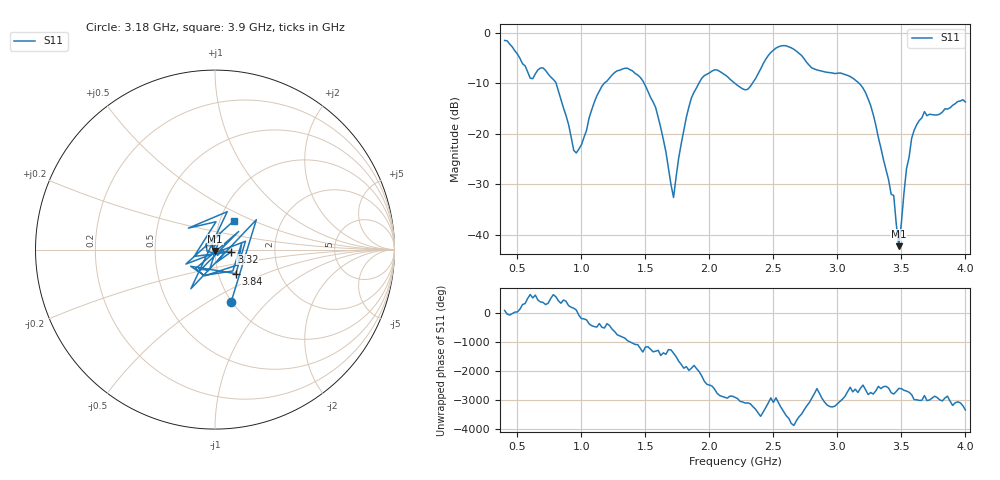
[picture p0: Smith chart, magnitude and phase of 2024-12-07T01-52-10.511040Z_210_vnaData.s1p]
!Created with skrf (http://scikit-rf.org).
# Hz S RI R 50.0
!freq ReS11 ImS11
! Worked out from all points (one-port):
!   181 points, 400 MHz to 4 GHz, reference 50 ohm
!   lowest |S11| = -42.3 dB at 3.48 GHz (marker M1), VSWR 1.02, Z = 50.1 - j0.756 ohm
!   |S11| at or under -10 dB: 802.6 MHz to 1.177 GHz (374.6 MHz wide, 37.8 % of centre); 1.49 GHz to 1.917 GHz (427 MHz wide, 25.1 % of centre); 3.17 GHz to end of sweep (the widest 3 of 4)
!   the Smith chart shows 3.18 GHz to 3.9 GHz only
!   S11 on the Smith chart (normalised r, x): 3.18 GHz: 0.99, -0.64; 3.32 GHz: 1.20, -0.03; 3.84 GHz: 1.21, -0.33; 3.9 GHz: 1.16, +0.39
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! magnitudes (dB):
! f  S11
! 400 MHz  -1.5
! 600 MHz  -8.9
! 720 MHz  -7.4
! 860 MHz  -14.9
! 960 MHz  -23.8
! 1.14 GHz  -11.5
! 1.3 GHz  -7.4
! 1.46 GHz  -8.8
! 1.58 GHz  -14.8
! 1.72 GHz  -32.6
! 1.76 GHz  -24.8
! 1.86 GHz  -12.8
! 1.94 GHz  -9.0
! 2.2 GHz  -10.0
! 2.3 GHz  -11.2
! 2.48 GHz  -3.8
! 2.66 GHz  -3.2
! 3.1 GHz  -8.6
! 3.18 GHz  -10.2
! 3.32 GHz  -20.7
! 3.44 GHz  -32.2
! 3.48 GHz  -42.3
! 3.56 GHz  -24.7
! 3.6 GHz  -19.3
! 3.68 GHz  -15.6
! 3.84 GHz  -15.0
! 3.9 GHz  -14.4
! 4 GHz  -13.7
